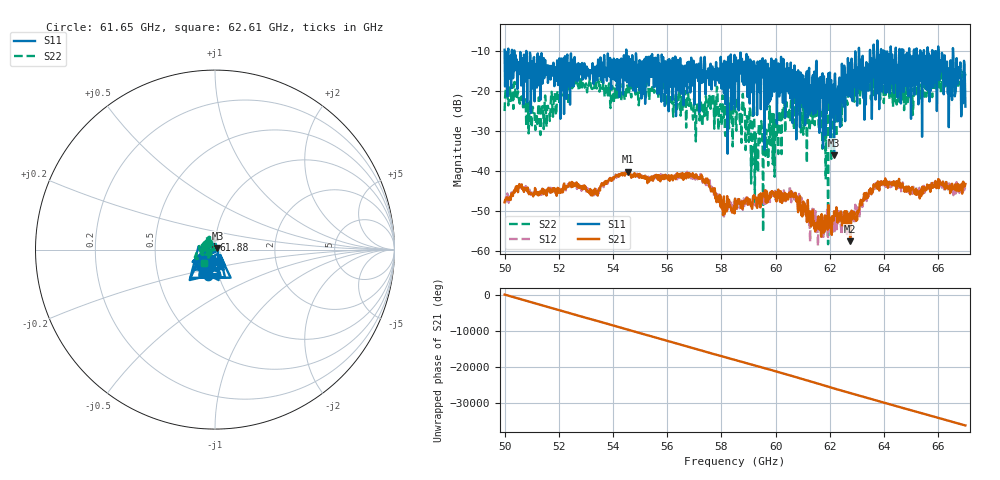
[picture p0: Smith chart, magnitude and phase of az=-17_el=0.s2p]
!Created with skrf (http://scikit-rf.org).
# GHz S RI R 50.0
!freq ReS11 ImS11 ReS21 ImS21 ReS12 ImS12 ReS22 ImS22
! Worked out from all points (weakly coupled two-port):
!   1001 points, 50 GHz to 67 GHz, reference 50 ohm
!   highest |S21| = -40.15 dB at 54.54 GHz (marker M1); lowest = -57.6 dB at 62.75 GHz (marker M2)
!   lowest |S11| = -36.0 dB at 62.16 GHz (marker M3), VSWR 1.03, Z = 51.4 + j0.792 ohm
!   |S11| at or under -10 dB: 50.8 GHz to 54.49 GHz (3.687 GHz wide, 7 % of centre); 54.49 GHz to 63.07 GHz (8.581 GHz wide, 14.6 % of centre); 66.01 GHz to 66.54 GHz (530.3 MHz wide, 0.8 % of centre) (the widest 3 of 27)
!   |S22| runs from -58.3 to -13.9 dB; largest |S21 - S12| = 0.0026
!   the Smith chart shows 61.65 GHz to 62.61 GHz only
!   S11 on the Smith chart (normalised r, x): 61.65 GHz: 0.88, -0.26; 61.88 GHz: 0.98, +0.10; 62.61 GHz: 0.86, -0.11
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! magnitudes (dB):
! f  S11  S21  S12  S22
! 50 GHz  -9.7  -47.8  -47.8  -25.0
! 50.42 GHz  -13.1  -43.8  -44.5  -21.9
! 51.38 GHz  -16.2  -44.9  -45.8  -24.4
! 52.84 GHz  -13.7  -43.8  -44.9  -19.6
! 54.54 GHz  -14.6  -40.1  -40.8  -18.9
! 55.68 GHz  -13.4  -42.2  -41.7  -21.8
! 57.21 GHz  -16.7  -41.9  -42.3  -25.2
! 58.5 GHz  -24.3  -46.9  -48.0  -24.2
! 58.86 GHz  -18.5  -48.1  -48.4  -24.4
! 59.32 GHz  -26.0  -49.2  -47.4  -33.9
! 59.42 GHz  -13.2  -47.7  -47.9  -32.9
! 59.62 GHz  -12.3  -45.4  -45.8  -36.2
! 60.64 GHz  -14.7  -45.8  -45.3  -22.5
! 61.34 GHz  -24.9  -52.8  -51.0  -25.7
! 61.65 GHz  -16.5  -54.2  -53.5  -25.1
! 61.88 GHz  -25.6  -51.7  -53.6  -22.8
! 62.16 GHz  -36.0  -50.0  -51.2  -27.9
! 62.61 GHz  -20.7  -50.0  -52.4  -20.5
! 62.75 GHz  -20.3  -57.6  -50.1  -20.0
! 64.18 GHz  -17.7  -43.4  -42.8  -18.7
! 66.08 GHz  -15.1  -43.3  -42.6  -15.6
! 67 GHz  -23.9  -43.2  -44.0  -15.6
